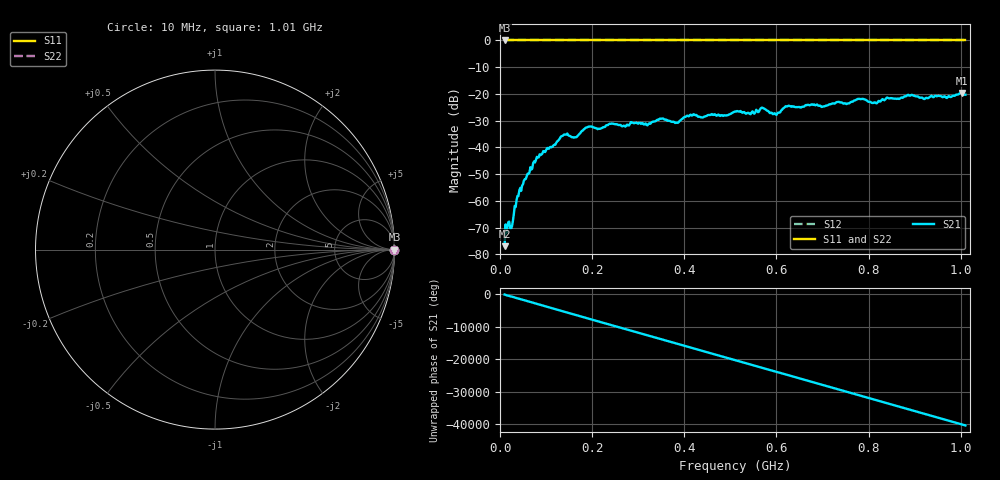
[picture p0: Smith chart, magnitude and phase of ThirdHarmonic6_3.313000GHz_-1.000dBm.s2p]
! 8/17/2025 10:21:43 AM
! C:\ANRITSUVNA\TEMP\TEMP.S2P
! CHANNEL.1
! TR.MEASUREMENT
! RAW.DATA
! RF.CORRECTION.OFF
! AVERAGING.OFF
! IF.BANDWIDTH: 5KHZ
! SWEEPTYPE:  FREQ.SWEEP(Linear)
! Reference Plane Port Info
! PORT:  PORT1  PORT2
! DISTANCE:  0  m  0  m
! TIME:  0  s  0  s
! PHASE.OFFSET:  0  deg.  0  deg.
! LOSS:  0  dB  0  dB
! REF.LOSS:  0  dB  0  dB
! REF.FREQ:  0  Hz  0  Hz
! Power Info
! POWER:  -20  dBm  -20  dBm
! EFF.POWER:  -20  dBm  -20  dBm
! SOURCE.ATTEN:  0  dB  0  dB
! TEST.ATTEN:  0  dB  0  dB
# GHZ S RI R 50.0
! FREQ.GHZ  S11RE  S11IM  S21RE  S21IM  S12RE  S12IM  S22RE  S22IM
!; PortSelection: Port_12
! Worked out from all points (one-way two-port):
!   501 points, 10 MHz to 1.01 GHz, reference 50 ohm
!   highest |S21| = -19.59 dB at 1.002 GHz (marker M1); lowest = -76.9 dB at 10 MHz (marker M2)
!   lowest |S11| = 0.0 dB at 10 MHz (marker M3)
!   |S11| at or under -10 dB: nowhere
!   |S22| runs from 0.0 to 0.0 dB; largest |S21 - S12| = 1.1
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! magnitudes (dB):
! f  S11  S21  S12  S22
! 10 MHz  0.0  -76.9  0.0  0.0
! 16 MHz  0.0  -69.4  0.0  0.0
! 26 MHz  0.0  -69.5  0.0  0.0
! 40 MHz  0.0  -58.1  0.0  0.0
! 76 MHz  0.0  -45.6  0.0  0.0
! 136 MHz  0.0  -35.7  0.0  0.0
! 164 MHz  0.0  -36.2  0.0  0.0
! 178 MHz  0.0  -33.8  0.0  0.0
! 344 MHz  0.0  -29.7  0.0  0.0
! 384 MHz  0.0  -30.8  0.0  0.0
! 416 MHz  0.0  -28.1  0.0  0.0
! 510 MHz  0.0  -26.6  0.0  0.0
! 540 MHz  0.0  -27.1  0.0  0.0
! 570 MHz  0.0  -25.2  0.0  0.0
! 596 MHz  0.0  -27.2  0.0  0.0
! 624 MHz  0.0  -24.6  0.0  0.0
! 678 MHz  0.0  -23.9  0.0  0.0
! 780 MHz  0.0  -21.8  0.0  0.0
! 814 MHz  0.0  -23.1  0.0  0.0
! 844 MHz  0.0  -21.6  0.0  0.0
! 1.002 GHz  0.0  -19.6  0.0  0.0
! 1.01 GHz  0.0  -20.3  0.0  0.0
